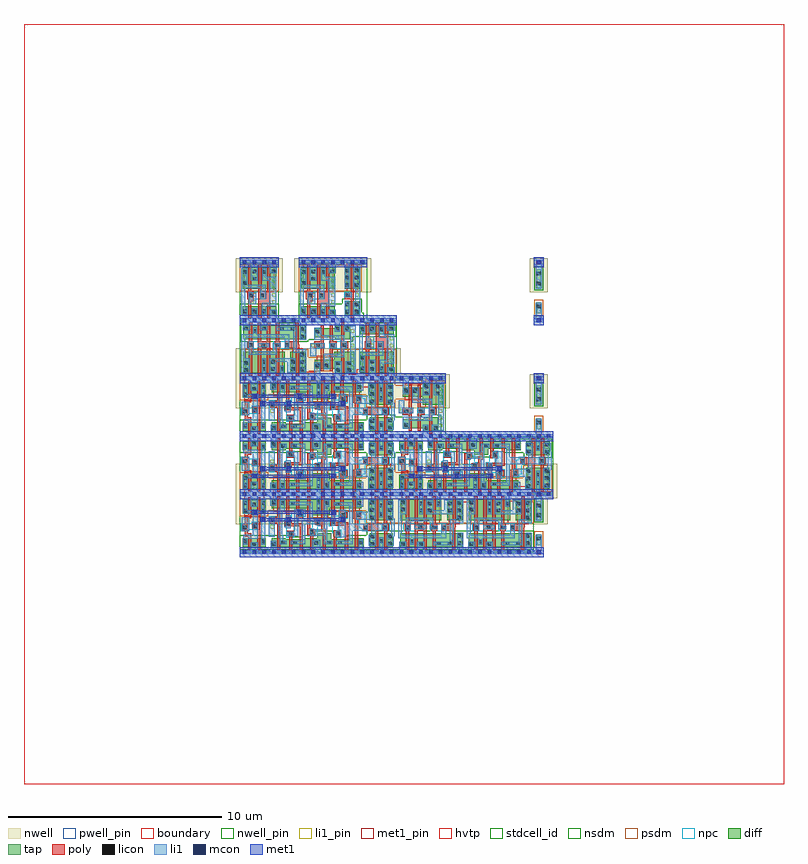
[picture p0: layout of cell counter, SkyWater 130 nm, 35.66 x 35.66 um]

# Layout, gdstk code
import gdstk
lib = gdstk.Library(unit=1e-6, precision=1e-09)
def R(c, l, rs):  # rectangles x0, y0, x1, y1
    for r in rs: c.add(gdstk.rectangle(r[:2], r[2:], *l))
def A(c, l, x, y, w, h, nx, ny, dx, dy):  # array of equal rectangles
    R(c, l, [(x+i*dx, y+j*dy, x+i*dx+w, y+j*dy+h) for i in range(nx) for j in range(ny)])
nwell_pin = (64, 16)
nwell = (64, 20)
diff = (65, 20)
tap = (65, 44)
poly = (66, 20)
licon = (66, 44)
li1_pin = (67, 16)
li1 = (67, 20)
mcon = (67, 44)
met1_pin = (68, 16)
met1 = (68, 20)
hvtp = (78, 44)
stdcell_id = (81, 4)
nsdm = (93, 44)
psdm = (94, 20)
npc = (95, 20)
pwell_pin = (122, 16)
boundary = (235, 4)

sky130_fd_sc_hd__xor2_1 = lib.new_cell('sky130_fd_sc_hd__xor2_1')
R(sky130_fd_sc_hd__xor2_1, nwell_pin, [(0.145,2.635,0.315,2.805)])
R(sky130_fd_sc_hd__xor2_1, nwell, [(-0.19,1.305,3.41,2.91)])
R(sky130_fd_sc_hd__xor2_1, diff, [(0.175,0.235,3.085,0.885), (0.175,1.485,2.105,2.485), (2.375,1.485,3.085,2.485)])
A(sky130_fd_sc_hd__xor2_1, poly, 0.435, 0.105, 0.15, 0.89, 4, 1, 0.42, 0)
A(sky130_fd_sc_hd__xor2_1, poly, 0.435, 1.325, 0.15, 1.29, 4, 1, 0.42, 0)
R(sky130_fd_sc_hd__xor2_1, poly, [(2.615,0.105,2.765,0.995), (0.375,0.995,0.645,1.325), (0.855,0.995,1.425,1.325), (1.635,0.995,1.905,1.325), (2.115,0.995,2.765,1.16), (2.115,1.16,2.785,1.325), (2.635,1.325,2.785,2.615)])
A(sky130_fd_sc_hd__xor2_1, licon, 2.835, 1.535, 0.17, 0.17, 1, 3, 0, 0.34)
A(sky130_fd_sc_hd__xor2_1, licon, 1.055, 2.205, 0.17, 0.17, 3, 1, 0.42, 0)
R(sky130_fd_sc_hd__xor2_1, licon, [(0.215,0.305,0.385,0.475), (1.055,0.305,1.225,0.475), (1.895,0.315,2.065,0.485), (2.395,0.315,2.565,0.485), (2.845,0.33,3.015,0.5), (0.635,0.415,0.805,0.585), (2.845,0.67,3.015,0.84), (0.425,1.075,0.595,1.245), (1.01,1.075,1.18,1.245), (1.685,1.075,1.855,1.245), (2.165,1.075,2.335,1.245), (1.055,1.865,1.225,2.035), (1.475,1.865,1.645,2.035), (2.415,1.865,2.585,2.035), (0.215,1.915,0.385,2.085), (2.415,2.205,2.585,2.375), (0.215,2.255,0.385,2.425)])
R(sky130_fd_sc_hd__xor2_1, li1_pin, [(1.065,1.105,1.235,1.275), (0.605,1.445,0.775,1.615), (2.905,1.445,3.075,1.615)])
R(sky130_fd_sc_hd__xor2_1, li1, [(0,-0.085,3.22,0.085), (0.135,0.085,0.465,0.475), (0.975,0.085,1.305,0.475), (2.845,0.085,3.135,0.92), (1.72,0.315,2.675,0.485), (0.635,0.335,0.805,0.655), (2.505,0.485,2.675,1.365), (0.085,0.655,2.335,0.825), (0.085,0.825,0.255,1.785), (2.105,0.825,2.335,1.325), (0.425,0.995,0.67,1.445), (0.84,1.075,1.39,1.275), (1.56,1.075,1.935,1.245), (1.56,1.245,1.73,1.445), (2.505,1.365,3.135,1.535), (0.425,1.445,1.73,1.615), (2.815,1.535,3.135,2.465), (0.085,1.785,0.465,2.465), (1.055,1.785,1.225,2.635), (1.395,1.785,2.635,1.955), (1.395,1.955,1.725,2.465), (2.235,1.955,2.635,2.465), (1.895,2.125,2.065,2.635), (0,2.635,3.22,2.805)])
A(sky130_fd_sc_hd__xor2_1, mcon, 0.145, -0.085, 0.17, 0.17, 7, 2, 0.46, 2.72)
R(sky130_fd_sc_hd__xor2_1, met1_pin, [(0.145,-0.085,0.315,0.085), (0.145,2.635,0.315,2.805)])
R(sky130_fd_sc_hd__xor2_1, met1, [(0,-0.24,3.22,0.24), (0,2.48,3.22,2.96)])
R(sky130_fd_sc_hd__xor2_1, hvtp, [(0.255,1.305,2.025,2.665), (2.455,1.305,2.965,2.665)])
R(sky130_fd_sc_hd__xor2_1, stdcell_id, [(0,0,3.22,2.72)])
R(sky130_fd_sc_hd__xor2_1, nsdm, [(0.05,0.11,3.21,1.01)])
R(sky130_fd_sc_hd__xor2_1, psdm, [(0.05,1.36,3.21,2.61)])
R(sky130_fd_sc_hd__xor2_1, npc, [(0.325,0.975,1.28,1.345), (1.585,0.975,2.435,1.345)])
R(sky130_fd_sc_hd__xor2_1, pwell_pin, [(0.145,-0.085,0.315,0.085)])
R(sky130_fd_sc_hd__xor2_1, boundary, [(0,0,3.22,2.72)])
sky130_fd_sc_hd__xor2_1.add(gdstk.Label('VNB', (0.23,0), layer=64, texttype=59))
sky130_fd_sc_hd__xor2_1.add(gdstk.Label('VPB', (0.23,2.72), layer=64, texttype=5))
sky130_fd_sc_hd__xor2_1.add(gdstk.Label('VPWR', (0.23,2.72), layer=68, texttype=5))
sky130_fd_sc_hd__xor2_1.add(gdstk.Label('VGND', (0.23,0), layer=68, texttype=5))
sky130_fd_sc_hd__xor2_1.add(gdstk.Label('A', (1.15,1.19), layer=67, texttype=5))
sky130_fd_sc_hd__xor2_1.add(gdstk.Label('X', (2.99,1.53), layer=67, texttype=5))
sky130_fd_sc_hd__xor2_1.add(gdstk.Label('B', (0.69,1.53), layer=67, texttype=5))

sky130_fd_sc_hd__dfxtp_1 = lib.new_cell('sky130_fd_sc_hd__dfxtp_1')
R(sky130_fd_sc_hd__dfxtp_1, nwell_pin, [(0.145,2.635,0.315,2.805)])
R(sky130_fd_sc_hd__dfxtp_1, nwell, [(-0.19,1.305,7.55,2.91)])
R(sky130_fd_sc_hd__dfxtp_1, diff, [(0.135,0.235,1.225,0.655), (1.495,0.235,5.82,0.595), (6.095,0.235,7.185,0.885), (1.495,0.595,2.155,0.655), (3.055,0.595,4.3,0.655), (5.16,0.595,5.82,0.655), (3.65,0.655,4.3,0.875), (6.075,1.485,7.175,2.485), (3.395,1.735,4.23,2.065), (0.135,1.815,1.225,2.455), (1.495,2.065,5.71,2.485)])
R(sky130_fd_sc_hd__dfxtp_1, poly, [(0.395,0.105,0.545,0.73), (0.815,0.105,0.965,1.1), (1.755,0.105,1.905,1.335), (2.315,0.105,2.465,0.735), (2.81,0.105,2.96,1.215), (3.305,0.105,3.455,0.795), (3.9,0.105,4.05,0.95), (4.405,0.105,4.555,0.705), (4.935,0.105,5.085,1.245), (5.41,0.105,5.56,1.575), (6.355,0.105,6.505,0.995), (6.775,0.105,6.925,0.995), (4.405,0.705,4.725,1.035), (0.23,0.73,0.545,0.88), (2.215,0.735,2.545,1.005), (3.17,0.795,3.54,1.065), (0.23,0.88,0.38,0.995), (3.83,0.95,4.05,1.1), (0.11,0.995,0.38,1.325), (5.795,0.995,6.505,1.325), (6.715,0.995,6.985,1.325), (3.17,1.065,3.32,2.615), (0.59,1.1,0.965,1.37), (3.83,1.1,3.98,1.275), (2.115,1.215,2.96,1.365), (4.24,1.245,5.085,1.395), (3.53,1.275,3.98,1.545), (0.23,1.325,0.38,1.59), (6.345,1.325,6.495,2.615), (6.765,1.325,6.915,2.615), (1.43,1.335,1.905,1.665), (2.115,1.365,2.445,1.485), (0.815,1.37,0.965,2.585), (4.24,1.395,4.51,1.575), (2.18,1.485,2.33,2.615), (3.83,1.545,3.98,2.615), (2.655,1.575,2.96,1.905), (4.305,1.575,4.455,2.615), (5.295,1.575,5.7,1.905), (0.23,1.59,0.545,1.74), (4.72,1.605,5.05,1.875), (1.755,1.665,1.905,2.615), (0.395,1.74,0.545,2.585), (4.725,1.875,4.875,2.615), (2.655,1.905,2.805,2.615), (5.295,1.905,5.445,2.615)])
A(sky130_fd_sc_hd__dfxtp_1, licon, 6.115, 1.545, 0.17, 0.17, 1, 3, 0, 0.355)
A(sky130_fd_sc_hd__dfxtp_1, licon, 6.965, 1.545, 0.17, 0.17, 1, 3, 0, 0.34)
R(sky130_fd_sc_hd__dfxtp_1, licon, [(0.595,0.295,0.765,0.465), (1.535,0.295,1.705,0.465), (6.135,0.3,6.305,0.47), (6.975,0.31,7.145,0.48), (3.51,0.335,3.68,0.505), (1.96,0.365,2.13,0.535), (2.515,0.365,2.685,0.535), (4.105,0.365,4.275,0.535), (4.62,0.365,4.79,0.535), (5.61,0.365,5.78,0.535), (0.175,0.425,0.345,0.595), (1.015,0.425,1.185,0.595), (6.555,0.445,6.725,0.615), (6.135,0.64,6.305,0.81), (6.975,0.65,7.145,0.82), (2.295,0.785,2.465,0.955), (4.505,0.785,4.675,0.955), (3.29,0.845,3.46,1.015), (0.16,1.075,0.33,1.245), (5.845,1.075,6.015,1.245), (6.765,1.075,6.935,1.245), (0.67,1.15,0.84,1.32), (2.195,1.265,2.365,1.435), (3.61,1.325,3.78,1.495), (4.29,1.325,4.46,1.495), (1.48,1.415,1.65,1.585), (2.74,1.655,2.91,1.825), (4.8,1.655,4.97,1.825), (5.48,1.655,5.65,1.825), (6.545,1.705,6.715,1.875), (0.175,1.875,0.345,2.045), (1.015,1.875,1.185,2.045), (3.61,1.915,3.78,2.085), (6.545,2.105,6.715,2.275), (0.595,2.135,0.765,2.305), (4.505,2.165,4.675,2.335), (2.415,2.19,2.585,2.36), (0.175,2.215,0.345,2.385), (1.015,2.215,1.185,2.385), (1.955,2.215,2.125,2.385), (4.03,2.215,4.2,2.385), (5.5,2.215,5.67,2.385), (1.535,2.255,1.705,2.425), (3.61,2.255,3.78,2.425)])
R(sky130_fd_sc_hd__dfxtp_1, li1_pin, [(6.95,0.425,7.12,0.595), (0.145,1.105,0.315,1.275), (1.445,1.105,1.615,1.275)])
R(sky130_fd_sc_hd__dfxtp_1, li1, [(0,-0.085,7.36,0.085), (0.515,0.085,0.845,0.465), (1.455,0.085,1.705,0.545), (3.4,0.085,3.77,0.585), (5.585,0.085,5.795,0.615), (6.555,0.085,6.725,0.695), (6.055,0.3,6.385,0.825), (6.895,0.305,7.225,0.74), (0.175,0.345,0.345,0.635), (1.015,0.345,1.2,2.465), (1.875,0.365,2.21,0.535), (2.405,0.365,3.08,0.535), (3.95,0.365,4.355,0.535), (4.525,0.365,5.31,0.535), (1.875,0.535,2.045,0.675), (2.91,0.535,3.08,1.315), (3.95,0.535,4.12,0.765), (5.14,0.535,5.31,0.995), (0.175,0.635,0.84,0.805), (1.82,0.675,2.045,0.805), (4.505,0.705,4.97,1.035), (1.37,0.715,1.65,1.665), (2.215,0.735,2.74,0.955), (6.895,0.74,7.275,0.825), (3.29,0.765,4.12,1.065), (0.61,0.805,0.84,1.795), (1.82,0.805,1.99,1.91), (6.185,0.825,6.385,0.995), (7.05,0.825,7.275,0.865), (7.105,0.865,7.275,1.445), (2.57,0.955,2.74,1.655), (0.09,0.975,0.44,1.625), (5.14,0.995,6.015,1.325), (6.185,0.995,6.935,1.325), (4.65,1.035,4.97,1.995), (3.29,1.065,3.49,1.095), (3.95,1.065,4.12,2.135), (2.16,1.125,2.4,1.72), (3.61,1.245,3.78,1.315), (4.29,1.245,4.48,1.965), (2.91,1.315,3.78,1.485), (5.14,1.325,5.31,2.165), (6.185,1.325,6.375,1.53), (7.06,1.445,7.275,1.495), (3.27,1.485,3.78,1.575), (6.885,1.495,7.275,1.575), (5.48,1.53,6.375,1.905), (3.27,1.575,3.44,2.19), (6.885,1.575,7.215,2.42), (6.545,1.625,6.715,2.635), (2.57,1.655,3.1,2.02), (0.175,1.795,0.84,1.965), (3.61,1.835,3.78,2.635), (6.035,1.905,6.375,2.465), (1.82,1.91,2.125,2.04), (0.175,1.965,0.345,2.465), (1.875,2.04,2.125,2.465), (0.515,2.135,0.845,2.635), (3.95,2.135,4.2,2.465), (5.49,2.135,5.805,2.635), (4.425,2.165,5.31,2.335), (1.44,2.175,1.705,2.635), (2.335,2.19,3.44,2.36), (0,2.635,7.36,2.805)])
A(sky130_fd_sc_hd__dfxtp_1, mcon, 0.145, -0.085, 0.17, 0.17, 16, 2, 0.46, 2.72)
R(sky130_fd_sc_hd__dfxtp_1, mcon, [(1.025,1.445,1.195,1.615), (2.215,1.445,2.385,1.615), (4.735,1.445,4.905,1.615), (0.63,1.785,0.8,1.955), (2.73,1.785,2.9,1.955), (4.3,1.785,4.47,1.955)])
R(sky130_fd_sc_hd__dfxtp_1, met1_pin, [(0.145,-0.085,0.315,0.085), (0.145,2.635,0.315,2.805)])
R(sky130_fd_sc_hd__dfxtp_1, met1, [(0,-0.24,7.36,0.24), (0.965,1.415,1.255,1.46), (2.155,1.415,2.445,1.46), (4.675,1.415,4.965,1.46), (0.965,1.46,4.965,1.6), (0.965,1.6,1.255,1.645), (2.155,1.6,2.445,1.645), (4.675,1.6,4.965,1.645), (0.57,1.755,0.86,1.8), (2.67,1.755,2.96,1.8), (4.24,1.755,4.53,1.8), (0.57,1.8,4.53,1.94), (0.57,1.94,0.86,1.985), (2.67,1.94,2.96,1.985), (4.24,1.94,4.53,1.985), (0,2.48,7.36,2.96)])
R(sky130_fd_sc_hd__dfxtp_1, hvtp, [(6.165,1.305,7.095,2.665), (3.65,1.555,4.16,1.885), (0.215,1.635,1.145,2.635), (1.575,1.885,5.625,2.665)])
R(sky130_fd_sc_hd__dfxtp_1, stdcell_id, [(0,0,7.36,2.72)])
R(sky130_fd_sc_hd__dfxtp_1, nsdm, [(0.01,0.11,7.31,0.72), (0.01,0.72,2.28,0.78), (2.93,0.72,4.425,0.78), (5.035,0.72,7.31,0.78), (3.525,0.78,4.425,1), (5.97,0.78,7.31,1.01)])
R(sky130_fd_sc_hd__dfxtp_1, psdm, [(5.95,1.36,7.3,1.94), (3.27,1.61,4.355,1.94), (0.01,1.69,1.35,1.94), (0.01,1.94,7.3,2.58), (1.37,2.58,7.3,2.61)])
R(sky130_fd_sc_hd__dfxtp_1, npc, [(2.195,0.685,2.565,1.165), (4.405,0.685,4.775,0.885), (3.19,0.745,3.56,0.895), (4.345,0.885,4.775,1.055), (3.19,0.895,3.67,1.115), (0.06,0.975,0.43,1.05), (5.745,0.975,6.115,1.11), (6.665,0.975,7.035,1.345), (0.06,1.05,0.94,1.345), (4.345,1.055,4.62,1.225), (5.61,1.11,6.115,1.345), (3.4,1.115,3.67,1.225), (2.095,1.165,2.565,1.265), (3.4,1.225,3.88,1.445), (4.19,1.225,4.62,1.44), (2.095,1.265,2.69,1.535), (1.38,1.315,1.75,1.685), (0.57,1.345,0.94,1.42), (5.61,1.345,5.885,1.555), (4.19,1.44,4.925,1.555), (3.51,1.445,3.88,1.595), (2.415,1.535,2.69,1.555), (2.415,1.555,3.01,1.825), (4.19,1.555,5.07,1.595), (5.38,1.555,5.885,1.79), (4.335,1.595,5.07,1.71), (4.7,1.71,5.07,1.925), (5.38,1.79,5.75,1.925), (2.64,1.825,3.01,1.925)])
R(sky130_fd_sc_hd__dfxtp_1, pwell_pin, [(0.145,-0.085,0.315,0.085)])
R(sky130_fd_sc_hd__dfxtp_1, boundary, [(0,0,7.36,2.72)])
sky130_fd_sc_hd__dfxtp_1.add(gdstk.Label('VPB', (0.23,2.72), layer=64, texttype=5))
sky130_fd_sc_hd__dfxtp_1.add(gdstk.Label('VNB', (0.23,0), layer=64, texttype=59))
sky130_fd_sc_hd__dfxtp_1.add(gdstk.Label('Q', (7.035,0.51), layer=67, texttype=5))
sky130_fd_sc_hd__dfxtp_1.add(gdstk.Label('CLK', (0.23,1.19), layer=67, texttype=5))
sky130_fd_sc_hd__dfxtp_1.add(gdstk.Label('D', (1.53,1.19), layer=67, texttype=5))
sky130_fd_sc_hd__dfxtp_1.add(gdstk.Label('VPB', (0.23,2.72), layer=64, texttype=5))
sky130_fd_sc_hd__dfxtp_1.add(gdstk.Label('VNB', (0.23,0), layer=64, texttype=59))
sky130_fd_sc_hd__dfxtp_1.add(gdstk.Label('VPWR', (0.23,2.72), layer=68, texttype=5))
sky130_fd_sc_hd__dfxtp_1.add(gdstk.Label('VGND', (0.23,0), layer=68, texttype=5))

sky130_fd_sc_hd__tapvpwr = lib.new_cell('sky130_fd_sc_hd__tapvpwrvgnd_1')
R(sky130_fd_sc_hd__tapvpwr, nwell, [(-0.19,1.305,0.65,2.91)])
R(sky130_fd_sc_hd__tapvpwr, tap, [(0.145,0.32,0.315,0.845), (0.145,1.525,0.315,2.4)])
R(sky130_fd_sc_hd__tapvpwr, licon, [(0.145,0.555,0.315,0.725), (0.145,1.645,0.315,1.815), (0.145,2.11,0.315,2.28)])
R(sky130_fd_sc_hd__tapvpwr, li1, [(0,-0.085,0.46,0.085), (0.085,0.085,0.375,0.81), (0.085,1.47,0.375,2.635), (0,2.635,0.46,2.805)])
R(sky130_fd_sc_hd__tapvpwr, mcon, [(0.145,-0.085,0.315,0.085), (0.145,2.635,0.315,2.805)])
R(sky130_fd_sc_hd__tapvpwr, met1_pin, [(0.105,-0.09,0.36,0.1), (0.11,2.62,0.375,2.765)])
R(sky130_fd_sc_hd__tapvpwr, met1, [(0,-0.24,0.46,0.24), (0,2.48,0.46,2.96)])
R(sky130_fd_sc_hd__tapvpwr, nsdm, [(0.02,1.4,0.44,2.525)])
R(sky130_fd_sc_hd__tapvpwr, psdm, [(0.02,0.195,0.44,0.97)])
R(sky130_fd_sc_hd__tapvpwr, boundary, [(0,0,0.46,2.72)])
sky130_fd_sc_hd__tapvpwr.add(gdstk.Label('VPWR', (0.242,2.692), layer=68, texttype=5))
sky130_fd_sc_hd__tapvpwr.add(gdstk.Label('VGND', (0.232,0.005), layer=68, texttype=5))

sky130_fd_sc_hd__and2_1 = lib.new_cell('sky130_fd_sc_hd__and2_1')
R(sky130_fd_sc_hd__and2_1, nwell_pin, [(0.145,2.635,0.315,2.805)])
R(sky130_fd_sc_hd__and2_1, nwell, [(-0.19,1.305,2.49,2.91)])
R(sky130_fd_sc_hd__and2_1, diff, [(1.275,0.235,1.965,0.375), (0.295,0.375,1.965,0.795), (1.275,0.795,1.965,0.885), (1.225,1.485,2.16,1.855), (0.295,1.855,2.16,2.275), (1.275,2.275,2.16,2.485)])
R(sky130_fd_sc_hd__and2_1, poly, [(1.535,0.105,1.685,0.995), (0.575,0.245,0.725,0.995), (0.995,0.245,1.145,0.995), (0.29,0.995,0.725,1.325), (0.995,0.995,1.325,1.325), (1.535,0.995,1.865,1.325), (0.575,1.325,0.725,2.405), (0.995,1.325,1.145,2.405), (1.535,1.325,1.685,2.615)])
R(sky130_fd_sc_hd__and2_1, licon, [(1.315,0.295,1.485,0.465), (1.735,0.295,1.905,0.465), (0.355,0.435,0.525,0.605), (0.37,1.075,0.54,1.245), (1.075,1.075,1.245,1.245), (1.615,1.075,1.785,1.245), (1.315,1.915,1.485,2.085), (1.835,1.915,2.005,2.085), (0.355,2.045,0.525,2.215), (0.775,2.045,0.945,2.215), (1.315,2.255,1.485,2.425), (1.835,2.255,2.005,2.425)])
A(sky130_fd_sc_hd__and2_1, li1_pin, 1.985, 0.425, 0.17, 0.17, 1, 6, 0, 0.34)
A(sky130_fd_sc_hd__and2_1, li1_pin, 0.145, 1.105, 0.17, 0.17, 3, 1, 0.46, 0)
R(sky130_fd_sc_hd__and2_1, li1, [(0,-0.085,2.3,0.085), (1.235,0.085,1.485,0.545), (1.655,0.255,2.215,0.545), (0.285,0.355,0.615,0.715), (1.965,0.545,2.215,1.915), (0.285,0.715,1.675,0.905), (1.505,0.905,1.675,0.995), (1.505,0.995,1.795,1.325), (0.1,1.075,0.775,1.325), (0.995,1.075,1.335,1.325), (0.1,1.325,0.365,1.685), (1.505,1.325,1.675,1.575), (0.735,1.575,1.675,1.745), (0.735,1.745,1.035,2.295), (1.235,1.915,1.565,2.635), (1.755,1.915,2.215,2.465), (0.285,1.965,0.565,2.635), (0,2.635,2.3,2.805)])
A(sky130_fd_sc_hd__and2_1, mcon, 0.145, -0.085, 0.17, 0.17, 5, 2, 0.46, 2.72)
R(sky130_fd_sc_hd__and2_1, met1_pin, [(0.145,-0.085,0.315,0.085), (0.145,2.635,0.315,2.805)])
R(sky130_fd_sc_hd__and2_1, met1, [(0,-0.24,2.3,0.24), (0,2.48,2.3,2.96)])
R(sky130_fd_sc_hd__and2_1, hvtp, [(1.355,1.305,1.865,1.675), (0.395,1.675,1.865,2.455), (1.355,2.455,1.865,2.665)])
R(sky130_fd_sc_hd__and2_1, stdcell_id, [(0,0,2.3,2.72)])
R(sky130_fd_sc_hd__and2_1, nsdm, [(1.15,0.11,2.09,0.25), (0.17,0.25,2.09,0.92), (1.15,0.92,2.09,1.01)])
R(sky130_fd_sc_hd__and2_1, psdm, [(1.1,1.36,2.285,1.73), (0.17,1.73,2.285,2.4), (1.15,2.4,2.285,2.61)])
R(sky130_fd_sc_hd__and2_1, npc, [(0.27,0.975,0.64,1.345), (0.975,0.975,1.885,1.345)])
R(sky130_fd_sc_hd__and2_1, pwell_pin, [(0.145,-0.085,0.315,0.085)])
R(sky130_fd_sc_hd__and2_1, boundary, [(0,0,2.3,2.72)])
sky130_fd_sc_hd__and2_1.add(gdstk.Label('VPWR', (0.23,2.72), layer=68, texttype=5))
sky130_fd_sc_hd__and2_1.add(gdstk.Label('VGND', (0.23,0), layer=68, texttype=5))
sky130_fd_sc_hd__and2_1.add(gdstk.Label('X', (2.07,2.21), layer=67, texttype=5))
sky130_fd_sc_hd__and2_1.add(gdstk.Label('X', (2.07,1.87), layer=67, texttype=5))
sky130_fd_sc_hd__and2_1.add(gdstk.Label('X', (2.07,1.53), layer=67, texttype=5))
sky130_fd_sc_hd__and2_1.add(gdstk.Label('X', (2.07,1.19), layer=67, texttype=5))
sky130_fd_sc_hd__and2_1.add(gdstk.Label('X', (2.07,0.51), layer=67, texttype=5))
sky130_fd_sc_hd__and2_1.add(gdstk.Label('X', (2.07,0.85), layer=67, texttype=5))
sky130_fd_sc_hd__and2_1.add(gdstk.Label('B', (1.15,1.19), layer=67, texttype=5))
sky130_fd_sc_hd__and2_1.add(gdstk.Label('A', (0.23,1.19), layer=67, texttype=5))
sky130_fd_sc_hd__and2_1.add(gdstk.Label('A', (0.69,1.19), layer=67, texttype=5))
sky130_fd_sc_hd__and2_1.add(gdstk.Label('VPB', (0.23,2.72), layer=64, texttype=5))
sky130_fd_sc_hd__and2_1.add(gdstk.Label('VNB', (0.23,0), layer=64, texttype=59))

sky130_fd_sc_hd__clkbuf_ = lib.new_cell('sky130_fd_sc_hd__clkbuf_2')
R(sky130_fd_sc_hd__clkbuf_, nwell_pin, [(0.145,2.635,0.315,2.805)])
R(sky130_fd_sc_hd__clkbuf_, nwell, [(-0.19,1.305,2.03,2.91)])
R(sky130_fd_sc_hd__clkbuf_, diff, [(0.135,0.235,1.705,0.655), (0.135,1.485,1.705,2.485)])
R(sky130_fd_sc_hd__clkbuf_, poly, [(0.4,0.105,0.55,0.9), (0.875,0.105,1.025,0.745), (1.295,0.105,1.445,0.745), (0.875,0.745,1.445,1.395), (0.4,0.9,0.665,0.975), (0.345,0.975,0.665,1.395), (0.4,1.395,0.55,2.615), (0.875,1.395,1.025,2.615), (1.295,1.395,1.445,2.615)])
R(sky130_fd_sc_hd__clkbuf_, licon, [(0.605,0.315,0.775,0.485), (1.495,0.315,1.665,0.485), (0.175,0.335,0.345,0.505), (1.075,0.335,1.245,0.505), (0.445,1.075,0.615,1.245), (0.965,1.075,1.135,1.245), (0.175,1.66,0.345,1.83), (0.605,1.855,0.775,2.025), (0.175,2.185,0.345,2.355), (1.075,2.185,1.245,2.355), (0.605,2.195,0.775,2.365), (1.495,2.21,1.665,2.38)])
A(sky130_fd_sc_hd__clkbuf_, li1_pin, 1.525, 0.765, 0.17, 0.17, 1, 4, 0, 0.34)
R(sky130_fd_sc_hd__clkbuf_, li1_pin, [(0.605,0.765,0.775,0.935), (0.605,1.105,0.775,1.275)])
R(sky130_fd_sc_hd__clkbuf_, li1, [(0,-0.085,1.84,0.085), (0.555,0.085,0.83,0.565), (1.415,0.085,1.75,0.485), (0.085,0.255,0.345,0.585), (1.04,0.255,1.245,0.655), (0.085,0.585,0.255,1.495), (1.04,0.655,1.725,0.825), (0.425,0.745,0.785,1.325), (1.385,0.825,1.725,1.855), (0.965,0.995,1.215,1.495), (0.085,1.495,1.215,1.665), (0.085,1.665,0.355,2.435), (0.525,1.855,0.855,2.635), (1.06,1.855,1.725,2.03), (1.06,2.03,1.245,2.435), (1.415,2.21,1.75,2.635), (0,2.635,1.84,2.805)])
A(sky130_fd_sc_hd__clkbuf_, mcon, 0.145, -0.085, 0.17, 0.17, 4, 2, 0.46, 2.72)
R(sky130_fd_sc_hd__clkbuf_, met1_pin, [(0.145,-0.085,0.315,0.085), (0.145,2.635,0.315,2.805)])
R(sky130_fd_sc_hd__clkbuf_, met1, [(0,-0.24,1.84,0.24), (0,2.48,1.84,2.96)])
R(sky130_fd_sc_hd__clkbuf_, hvtp, [(0.22,1.305,1.625,2.665)])
R(sky130_fd_sc_hd__clkbuf_, stdcell_id, [(0,0,1.84,2.72)])
R(sky130_fd_sc_hd__clkbuf_, nsdm, [(0.01,0.11,1.83,0.78)])
R(sky130_fd_sc_hd__clkbuf_, psdm, [(0.01,1.36,1.83,2.61)])
R(sky130_fd_sc_hd__clkbuf_, npc, [(0.345,0.975,1.235,1.345)])
R(sky130_fd_sc_hd__clkbuf_, pwell_pin, [(0.145,-0.085,0.315,0.085)])
R(sky130_fd_sc_hd__clkbuf_, boundary, [(0,0,1.84,2.72)])
sky130_fd_sc_hd__clkbuf_.add(gdstk.Label('VGND', (0.23,0), layer=68, texttype=5))
sky130_fd_sc_hd__clkbuf_.add(gdstk.Label('VPWR', (0.23,2.72), layer=68, texttype=5))
sky130_fd_sc_hd__clkbuf_.add(gdstk.Label('VGND', (0.23,0), layer=68, texttype=5))
sky130_fd_sc_hd__clkbuf_.add(gdstk.Label('VPWR', (0.23,2.72), layer=68, texttype=5))
sky130_fd_sc_hd__clkbuf_.add(gdstk.Label('A', (0.69,1.19), layer=67, texttype=5))
sky130_fd_sc_hd__clkbuf_.add(gdstk.Label('A', (0.69,0.85), layer=67, texttype=5))
sky130_fd_sc_hd__clkbuf_.add(gdstk.Label('X', (1.61,1.87), layer=67, texttype=5))
sky130_fd_sc_hd__clkbuf_.add(gdstk.Label('X', (1.61,1.53), layer=67, texttype=5))
sky130_fd_sc_hd__clkbuf_.add(gdstk.Label('X', (1.61,0.85), layer=67, texttype=5))
sky130_fd_sc_hd__clkbuf_.add(gdstk.Label('X', (1.61,1.19), layer=67, texttype=5))
sky130_fd_sc_hd__clkbuf_.add(gdstk.Label('VPB', (0.23,2.72), layer=64, texttype=5))
sky130_fd_sc_hd__clkbuf_.add(gdstk.Label('VNB', (0.23,0), layer=64, texttype=59))

sky130_fd_sc_hd__inv_1 = lib.new_cell('sky130_fd_sc_hd__inv_1')
R(sky130_fd_sc_hd__inv_1, nwell_pin, [(0.145,2.635,0.315,2.805)])
R(sky130_fd_sc_hd__inv_1, nwell, [(-0.19,1.305,1.57,2.91)])
R(sky130_fd_sc_hd__inv_1, diff, [(0.34,0.235,1.01,0.885), (0.34,1.485,1.01,2.485)])
R(sky130_fd_sc_hd__inv_1, poly, [(0.6,0.105,0.75,0.995), (0.32,0.995,0.75,1.325), (0.6,1.325,0.75,2.615)])
A(sky130_fd_sc_hd__inv_1, licon, 0.38, 1.575, 0.17, 0.17, 1, 3, 0, 0.34)
A(sky130_fd_sc_hd__inv_1, licon, 0.8, 1.575, 0.17, 0.17, 1, 3, 0, 0.34)
R(sky130_fd_sc_hd__inv_1, licon, [(0.38,0.315,0.55,0.485), (0.8,0.315,0.97,0.485), (0.38,0.655,0.55,0.825), (0.8,0.655,0.97,0.825), (0.4,1.075,0.57,1.245)])
R(sky130_fd_sc_hd__inv_1, li1_pin, [(0.36,1.105,0.53,1.275), (0.82,1.105,0.99,1.275), (0.82,1.445,0.99,1.615)])
R(sky130_fd_sc_hd__inv_1, li1, [(0,-0.085,1.38,0.085), (0.32,0.085,0.55,0.905), (0.72,0.255,1.05,0.885), (0.82,0.885,1.05,1.485), (0.32,1.075,0.65,1.315), (0.72,1.485,1.05,2.465), (0.34,1.495,0.55,2.635), (0,2.635,1.38,2.805)])
A(sky130_fd_sc_hd__inv_1, mcon, 0.145, -0.085, 0.17, 0.17, 3, 2, 0.46, 2.72)
R(sky130_fd_sc_hd__inv_1, met1_pin, [(0.145,-0.085,0.315,0.085), (0.145,2.635,0.315,2.805)])
R(sky130_fd_sc_hd__inv_1, met1, [(0,-0.24,1.38,0.24), (0,2.48,1.38,2.96)])
R(sky130_fd_sc_hd__inv_1, hvtp, [(0.42,1.305,0.93,2.665)])
R(sky130_fd_sc_hd__inv_1, stdcell_id, [(0,0,1.38,2.72)])
R(sky130_fd_sc_hd__inv_1, nsdm, [(0.215,0.11,1.135,1.01)])
R(sky130_fd_sc_hd__inv_1, psdm, [(0.215,1.36,1.135,2.61)])
R(sky130_fd_sc_hd__inv_1, npc, [(0.3,0.975,0.67,1.345)])
R(sky130_fd_sc_hd__inv_1, pwell_pin, [(0.145,-0.085,0.315,0.085)])
R(sky130_fd_sc_hd__inv_1, boundary, [(0,0,1.38,2.72)])
sky130_fd_sc_hd__inv_1.add(gdstk.Label('VPB', (0.23,2.72), layer=64, texttype=5))
sky130_fd_sc_hd__inv_1.add(gdstk.Label('VNB', (0.23,0), layer=64, texttype=59))
sky130_fd_sc_hd__inv_1.add(gdstk.Label('VGND', (0.23,0), layer=68, texttype=5))
sky130_fd_sc_hd__inv_1.add(gdstk.Label('VPWR', (0.23,2.72), layer=68, texttype=5))
sky130_fd_sc_hd__inv_1.add(gdstk.Label('A', (0.445,1.19), layer=67, texttype=5))
sky130_fd_sc_hd__inv_1.add(gdstk.Label('Y', (0.905,1.19), layer=67, texttype=5))
sky130_fd_sc_hd__inv_1.add(gdstk.Label('Y', (0.905,1.53), layer=67, texttype=5))

counter = lib.new_cell('counter')
R(counter, hvtp, [(20.445,13.22,20.955,13.545), (23.665,13.22,23.845,13.545), (22.725,13.26,23.155,13.545), (10.335,13.515,11.265,13.685), (11.695,13.545,15.745,13.655), (16.285,13.545,17.215,13.655), (17.735,13.545,18.625,13.685), (19.055,13.545,19.505,13.655), (19.935,13.545,23.845,13.655), (23.105,13.655,23.645,13.98), (15.745,18.625,16.285,18.985), (10.375,18.955,11.265,19.095), (11.695,18.985,12.145,19.095), (12.575,18.985,17.215,19.095), (13.085,19.095,14.695,19.305), (15.205,19.095,15.86,19.23), (15.61,19.23,15.86,19.455), (13.085,19.305,13.735,19.335)])
R(counter, nsdm, [(17.43,10.99,17.53,11.89), (20.69,10.99,20.75,11.89), (17.43,15.54,17.49,16.21), (10.13,16.21,19.57,16.43), (17.43,16.43,18.63,16.57), (17.43,16.57,17.65,17.24), (13.33,20.84,13.51,21.51), (15.43,20.98,15.65,21.65), (13.33,21.51,14.49,21.65), (10.17,21.65,11.95,21.87), (12.89,21.65,15.945,21.87), (14.71,21.87,14.935,22.54), (15.855,21.87,15.945,22.115)])
R(counter, psdm, [(17.42,12.24,17.53,13.49), (20.69,12.24,20.75,13.49), (10.13,13.46,11.49,13.49), (10.13,13.49,23.91,13.71), (10.13,13.71,11.49,13.74), (17.42,13.71,18.85,13.74), (17.42,13.74,17.49,14.63), (17.42,18.05,17.65,18.72), (10.17,18.9,11.49,18.93), (10.17,18.93,13.33,19.15), (14.49,18.93,17.42,19.15), (15.625,19.15,15.65,20.4), (13.33,19.36,13.51,20.03), (14.71,23.12,14.935,24.37)])
R(counter, boundary, [(0,0,35.66,35.66)])
counter.add(gdstk.Reference(sky130_fd_sc_hd__xor2_1, (17.48,10.88)))
counter.add(gdstk.Reference(sky130_fd_sc_hd__xor2_1, (20.7,10.88)))
counter.add(gdstk.Reference(sky130_fd_sc_hd__dfxtp_1, (10.12,10.88)))
counter.add(gdstk.Reference(sky130_fd_sc_hd__dfxtp_1, (10.12,16.32), x_reflection=True))
counter.add(gdstk.Reference(sky130_fd_sc_hd__dfxtp_1, (17.48,16.32), x_reflection=True))
counter.add(gdstk.Reference(sky130_fd_sc_hd__tapvpwr, (23.92,10.88)))
counter.add(gdstk.Reference(sky130_fd_sc_hd__xor2_1, (17.48,10.88)))
counter.add(gdstk.Reference(sky130_fd_sc_hd__xor2_1, (20.7,10.88)))
counter.add(gdstk.Reference(sky130_fd_sc_hd__tapvpwr, (23.92,10.88)))
counter.add(gdstk.Reference(sky130_fd_sc_hd__dfxtp_1, (10.12,10.88)))
counter.add(gdstk.Reference(sky130_fd_sc_hd__dfxtp_1, (10.12,16.32), x_reflection=True))
counter.add(gdstk.Reference(sky130_fd_sc_hd__dfxtp_1, (17.48,16.32), x_reflection=True))
counter.add(gdstk.Reference(sky130_fd_sc_hd__and2_1, (17.48,16.32)))
counter.add(gdstk.Reference(sky130_fd_sc_hd__dfxtp_1, (10.12,16.32)))
counter.add(gdstk.Reference(sky130_fd_sc_hd__tapvpwr, (23.92,16.32)))
counter.add(gdstk.Reference(sky130_fd_sc_hd__tapvpwr, (23.92,16.32)))
counter.add(gdstk.Reference(sky130_fd_sc_hd__dfxtp_1, (10.12,16.32)))
counter.add(gdstk.Reference(sky130_fd_sc_hd__and2_1, (17.48,16.32)))
counter.add(gdstk.Reference(sky130_fd_sc_hd__xor2_1, (10.12,21.76), x_reflection=True))
counter.add(gdstk.Reference(sky130_fd_sc_hd__and2_1, (13.34,21.76), x_reflection=True))
counter.add(gdstk.Reference(sky130_fd_sc_hd__clkbuf_, (15.64,21.76), x_reflection=True))
counter.add(gdstk.Reference(sky130_fd_sc_hd__xor2_1, (10.12,21.76), x_reflection=True))
counter.add(gdstk.Reference(sky130_fd_sc_hd__clkbuf_, (15.64,21.76), x_reflection=True))
counter.add(gdstk.Reference(sky130_fd_sc_hd__and2_1, (13.34,21.76), x_reflection=True))
counter.add(gdstk.Reference(sky130_fd_sc_hd__inv_1, (14.72,21.76)))
counter.add(gdstk.Reference(sky130_fd_sc_hd__clkbuf_, (12.88,21.76)))
counter.add(gdstk.Reference(sky130_fd_sc_hd__clkbuf_, (10.12,21.76)))
counter.add(gdstk.Reference(sky130_fd_sc_hd__tapvpwr, (23.92,21.76)))
counter.add(gdstk.Reference(sky130_fd_sc_hd__tapvpwr, (23.92,21.76)))
counter.add(gdstk.Reference(sky130_fd_sc_hd__inv_1, (14.72,21.76)))
counter.add(gdstk.Reference(sky130_fd_sc_hd__clkbuf_, (12.88,21.76)))
counter.add(gdstk.Reference(sky130_fd_sc_hd__clkbuf_, (10.12,21.76)))

lib.write_gds('counter.gds')
